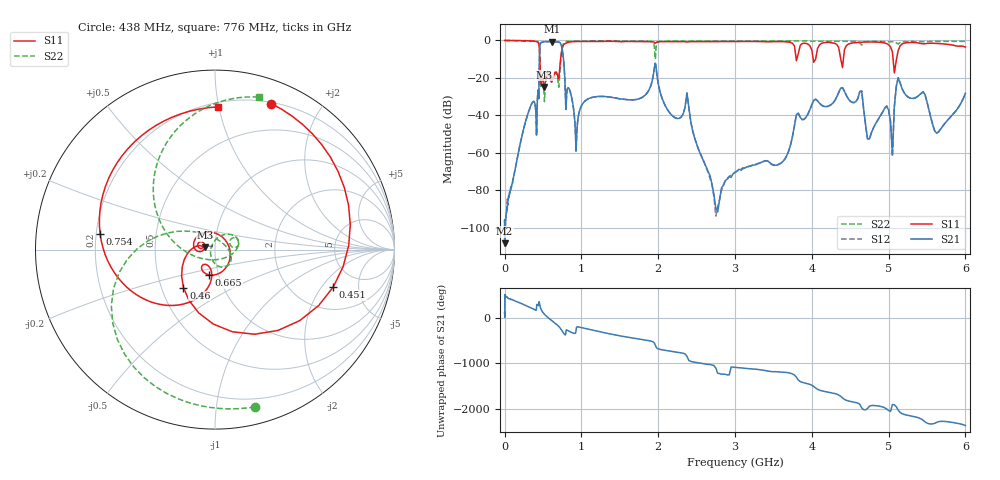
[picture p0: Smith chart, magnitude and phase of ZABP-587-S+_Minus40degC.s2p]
! Mini-Circuits
! S2P DATA File Format
! Type: BAND PASS FILTER
! Model: ZABP-587-S+
! All S Parameters are in MAG PHASE format
! TEST CONDITIONS: INPUT POWER = 0 dBm @ Temperature = -40deg C
# MHz S DB R 50
!FREQ  MAG(S11)PHS(S11) MAG(S21)PHS(S21)MAG(S12)PHS(S12)MAG(S22)PHS(S22)
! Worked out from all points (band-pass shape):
!   1001 points, 500 kHz to 6 GHz, reference 50 ohm
!   highest |S21| = -0.60 dB at 613 MHz (marker M1); lowest = -108.2 dB at 500 kHz (marker M2)
!   |S21| within 3 dB of the highest: 459.4 MHz to 745.9 MHz (286.5 MHz wide, 47.5 % of centre)
!   lowest |S11| = -24.8 dB at 517 MHz (marker M3), VSWR 1.12, Z = 44.7 + j1.09 ohm
!   |S11| at or under -10 dB: 459 MHz to 729.7 MHz (270.7 MHz wide, 45.5 % of centre); 3.797422 GHz to 3.805163 GHz (7.741 MHz wide, 0.204 % of centre); 5.059 GHz to 5.103 GHz (44.43 MHz wide, 0.874 % of centre)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
!   |S22| runs from -32.6 to 0.0 dB; largest |S21 - S12| = 0.00066
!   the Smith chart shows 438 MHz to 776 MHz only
!   S11 on the Smith chart (normalised r, x): 438 MHz: 0.21, +1.44; 451 MHz: 3.28, -2.61; 460 MHz: 0.65, -0.30; 665 MHz: 0.90, -0.26; 754 MHz: 0.22, +0.07; 776 MHz: 0.23, +0.99
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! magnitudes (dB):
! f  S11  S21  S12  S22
! 500 kHz  0.0  -108.2  -97.4  0.0
! 2.5 MHz  0.0  -104.9  -105.2  0.0
! 15 MHz  0.0  -94.5  -95.2  0.0
! 55 MHz  0.0  -82.8  -82.0  0.0
! 265 MHz  -0.1  -44.5  -44.5  -0.4
! 415 MHz  -0.6  -49.9  -49.9  -0.5
! 438 MHz  -1.2  -26.5  -26.5  -0.9
! 451 MHz  -3.2  -14.6  -14.7  -2.3
! 460 MHz  -11.2  -3.3  -3.3  -9.8
! 517 MHz  -24.8  -0.7  -0.7  -32.0
! 613 MHz  -22.2  -0.6  -0.6  -20.8
! 665 MHz  -16.8  -0.7  -0.7  -17.2
! 754 MHz  -3.8  -5.4  -5.4  -3.3
! 776 MHz  -2.0  -14.4  -14.4  -1.1
! 798 MHz  -1.5  -36.8  -36.8  -0.6
! 930 MHz  -0.6  -59.1  -59.2  -0.2
! 1.255 GHz  -0.5  -29.8  -29.8  -0.2
! 1.965 GHz  -1.4  -12.4  -12.4  -9.5
! 2.8 GHz  -0.6  -84.8  -84.8  -0.2
! 4.35 GHz  -3.7  -27.8  -27.8  -0.4
! 5.675 GHz  -1.7  -47.4  -47.4  -0.5
! 6 GHz  -3.5  -28.2  -28.2  -0.5
